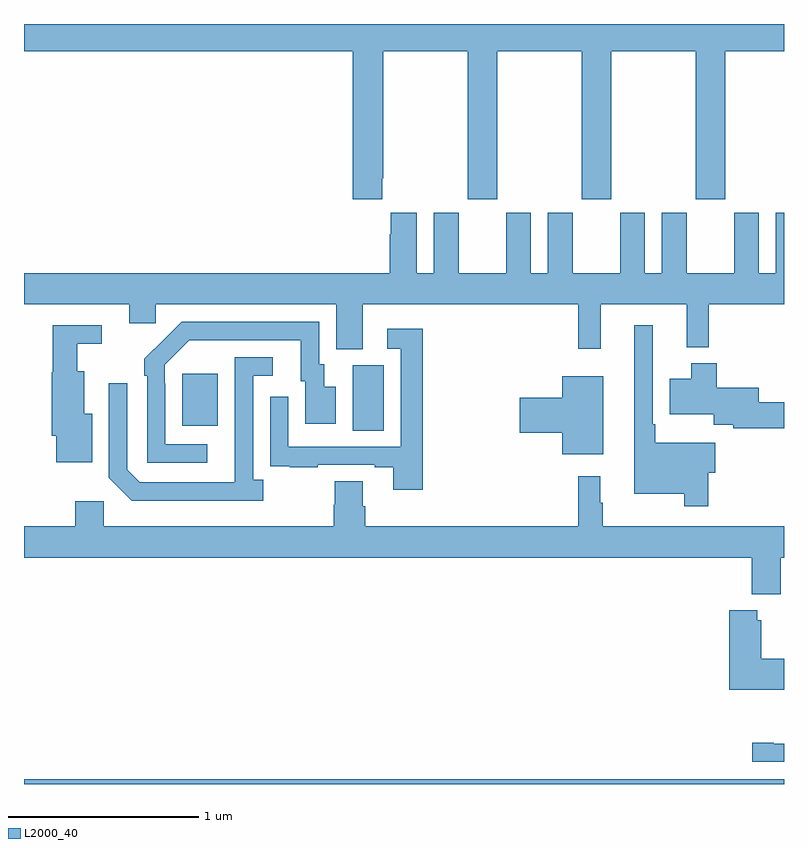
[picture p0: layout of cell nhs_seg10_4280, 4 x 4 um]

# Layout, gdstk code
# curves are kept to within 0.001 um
import gdstk
lib = gdstk.Library(unit=1e-6, precision=1e-09)
def R(c, l, rs):  # rectangles x0, y0, x1, y1
    for r in rs: c.add(gdstk.rectangle(r[:2], r[2:], *l))
def P(c, l, *ps):  # polygons
    for p in ps: c.add(gdstk.Polygon(p, *l))
L2000_40 = (2000, 40)

nhs_seg10_4280 = lib.new_cell('nhs_seg10_4280')
R(nhs_seg10_4280, L2000_40, [(351,1256.5,355,1256.524), (352.73,1258.36,352.894,1258.704), (351.833,1258.385,352.021,1258.66)])
P(nhs_seg10_4280, L2000_40, [(352.885,1259.689),(352.89,1259.689),(352.89,1260.356),(353.335,1260.356),(353.335,1259.577),(353.49,1259.577),(353.49,1260.356),(353.935,1260.356),(353.935,1259.577),(354.09,1259.577),(354.09,1260.356),(354.535,1260.356),(354.535,1259.577),(354.69,1259.577),(354.69,1260.356),(355,1260.356),(355,1260.5),(351,1260.5),(351,1260.356),(352.73,1260.356),(352.73,1259.577),(352.885,1259.577)],
  [(352.783,1259.024),(353.917,1259.024),(353.917,1258.791),(354.035,1258.791),(354.035,1259.024),(354.488,1259.024),(354.488,1258.799),(354.605,1258.799),(354.605,1259.024),(355,1259.024),(355,1259.506),(354.956,1259.506),(354.956,1259.188),(354.868,1259.188),(354.868,1259.506),(354.737,1259.506),(354.737,1259.188),(354.487,1259.188),(354.487,1259.506),(354.356,1259.506),(354.356,1259.188),(354.268,1259.188),(354.268,1259.506),(354.137,1259.506),(354.137,1259.188),(353.887,1259.188),(353.887,1259.506),(353.756,1259.506),(353.756,1259.188),(353.668,1259.188),(353.668,1259.506),(353.537,1259.506),(353.537,1259.188),(353.287,1259.188),(353.287,1259.506),(353.156,1259.506),(353.156,1259.188),(353.068,1259.188),(353.068,1259.506),(352.931,1259.506),(352.931,1259.393),(352.925,1259.393),(352.925,1259.188),(351,1259.188),(351,1259.024),(351.554,1259.024),(351.554,1258.926),(351.693,1258.926),(351.693,1259.024),(352.643,1259.024),(352.643,1258.789),(352.783,1258.789)],
  [(351.964,1258.287),(351.744,1258.287),(351.744,1258.607),(351.741,1258.607),(351.741,1258.707),(351.87,1258.836),(352.457,1258.836),(352.457,1258.62),(352.481,1258.62),(352.481,1258.395),(352.642,1258.395),(352.642,1258.591),(352.579,1258.591),(352.579,1258.71),(352.554,1258.71),(352.554,1258.932),(351.83,1258.932),(351.633,1258.737),(351.633,1258.649),(351.648,1258.649),(351.648,1258.191),(351.964,1258.191)],
  [(354.602,1258.139),(354.637,1258.139),(354.637,1258.297),(354.322,1258.297),(354.322,1258.393),(354.309,1258.393),(354.309,1258.915),(354.212,1258.915),(354.212,1258.028),(354.474,1258.028),(354.474,1257.963),(354.602,1257.963)],
  [(351.358,1258.45),(351.316,1258.45),(351.316,1258.672),(351.28,1258.672),(351.28,1258.817),(351.409,1258.817),(351.409,1258.914),(351.151,1258.914),(351.151,1258.668),(351.146,1258.668),(351.146,1258.332),(351.17,1258.332),(351.17,1258.193),(351.358,1258.193)],
  [(353.099,1258.897),(352.911,1258.897),(352.911,1258.791),(352.983,1258.791),(352.983,1258.275),(352.392,1258.275),(352.392,1258.537),(352.296,1258.537),(352.296,1258.282),(352.297,1258.282),(352.297,1258.173),(352.399,1258.173),(352.399,1258.167),(352.547,1258.167),(352.547,1258.179),(352.847,1258.179),(352.847,1258.167),(352.943,1258.167),(352.943,1258.05),(353.099,1258.05)],
  [(352.258,1258.102),(352.206,1258.102),(352.206,1258.65),(352.309,1258.65),(352.309,1258.746),(352.11,1258.746),(352.109,1258.089),(351.609,1258.089),(351.543,1258.155),(351.543,1258.609),(351.447,1258.609),(351.447,1258.113),(351.568,1257.992),(352.258,1257.992)],
  [(355,1258.508),(354.868,1258.508),(354.868,1258.585),(354.647,1258.585),(354.647,1258.714),(354.512,1258.714),(354.512,1258.633),(354.398,1258.633),(354.398,1258.445),(354.629,1258.445),(354.629,1258.391),(354.733,1258.391),(354.733,1258.372),(355,1258.372)],
  [(354.049,1258.645),(353.834,1258.645),(353.834,1258.532),(353.61,1258.532),(353.61,1258.349),(353.834,1258.349),(353.834,1258.235),(354.049,1258.235)],
  [(354.982,1257.692),(355,1257.692),(355,1257.856),(354.046,1257.856),(354.046,1257.98),(354.034,1257.98),(354.034,1258.12),(353.917,1258.12),(353.917,1257.856),(352.796,1257.856),(352.796,1257.962),(352.783,1257.962),(352.783,1258.094),(352.636,1258.094),(352.636,1257.969),(352.631,1257.969),(352.631,1257.856),(351.42,1257.856),(351.42,1257.988),(351.269,1257.988),(351.269,1257.856),(351,1257.856),(351,1257.692),(354.83,1257.692),(354.83,1257.5),(354.982,1257.5)],
  [(355,1257.159),(354.88,1257.159),(354.88,1257.361),(354.858,1257.361),(354.858,1257.415),(354.713,1257.415),(354.713,1256.996),(355,1256.996)],
  [(355,1256.712),(354.946,1256.712),(354.946,1256.717),(354.834,1256.717),(354.834,1256.616),(355,1256.616)])

lib.write_gds('nhs_seg10_4280.gds')
